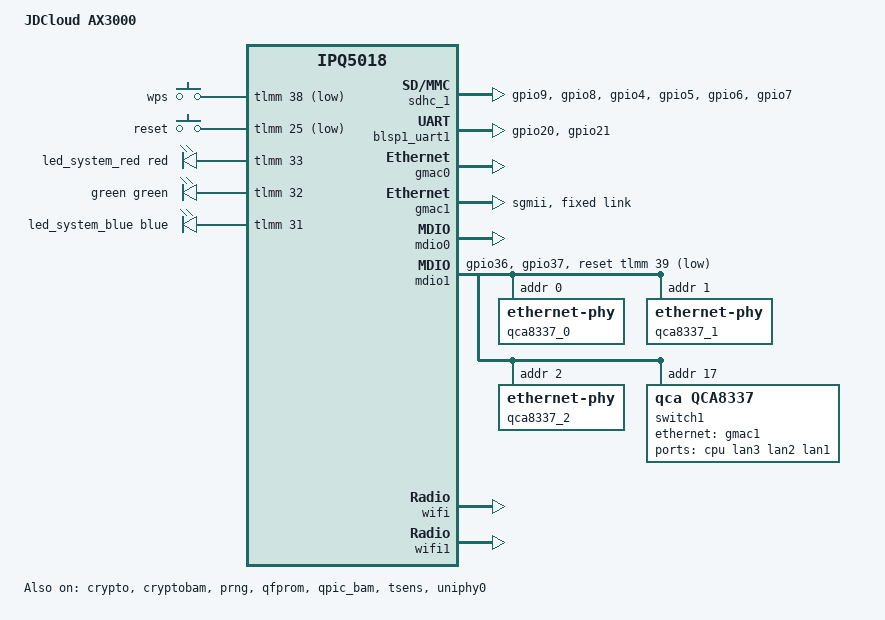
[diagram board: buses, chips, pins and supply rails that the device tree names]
// SPDX-License-Identifier: GPL-2.0-or-later OR MIT

/dts-v1/;

#include "ipq5018.dtsi"
#include "ipq5018-dwmac.dtsi"
#include "ipq5018-qcn6122.dtsi"
#include "ipq5018-nss.dtsi"

#include <dt-bindings/gpio/gpio.h>
#include <dt-bindings/input/input.h>
#include <dt-bindings/leds/common.h>

/ {
	model = "JDCloud AX3000";
	compatible = "jdcloud,ax3000", "qcom,ipq5018";

	aliases {
		led-boot = &led_system_blue;
		led-failsafe = &led_system_red;
		led-running = &led_system_blue;
		led-upgrade = &led_system_red;
		serial0 = &blsp1_uart1;
		sdhc1 = &sdhc_1;
		ethernet0 = &gmac0;
		ethernet1 = &gmac1;
		label-mac-device = &gmac1;
	};

	chosen {
		bootargs-append = " swiotlb=1 coherent_pool=2M fstools_partname_fallback_scan=1 fstools_overlay_fstype=ext4 clk_ignore_unused pd_ignore_unused";
		stdout-path = "serial0:115200n8";
	};

	keys {
		compatible = "gpio-keys";
		pinctrl-0 = <&button_pins>;
		pinctrl-names = "default";

		wps-button {
			label = "wps";
			linux,code = <KEY_WPS_BUTTON>;
			gpios = <&tlmm 38 GPIO_ACTIVE_LOW>;
			linux,input-type = <1>;
			debounce-interval = <60>;
		};

		reset-button {
			label = "reset";
			linux,code = <KEY_RESTART>;
			gpios = <&tlmm 25 GPIO_ACTIVE_LOW>;
			linux,input-type = <1>;
			debounce-interval = <60>;
		};
	};

	leds {
		compatible = "gpio-leds";
		pinctrl-0 = <&leds_pins>;
		pinctrl-names = "default";

		led_system_red: red {
			color = <LED_COLOR_ID_RED>;
			function = LED_FUNCTION_POWER;
			gpios = <&tlmm 33 GPIO_ACTIVE_HIGH>;
		};

		green {
			color = <LED_COLOR_ID_GREEN>;
			function = LED_FUNCTION_POWER;
			gpios = <&tlmm 32 GPIO_ACTIVE_HIGH>;
		};

		led_system_blue: blue {
			color = <LED_COLOR_ID_BLUE>;
			function = LED_FUNCTION_POWER;
			gpios = <&tlmm 31 GPIO_ACTIVE_HIGH>;
		};
	};
};

&sdhc_1 {
	status = "okay";
	pinctrl-0 = <&emmc_pins>;
	pinctrl-names = "default";
	max-frequency = <192000000>;

	/delete-property/ mmc-hs400-1_8v;
	mmc-hs200-1_8v;
	mmc-ddr-1_8v;
};

&sleep_clk {
	clock-frequency = <32000>;
};

&xo_board_clk {
	clock-frequency = <24000000>;
	clock-div = <4>;
	clock-mult = <1>;
};

&blsp1_uart1 {
	status = "okay";
	pinctrl-0 = <&serial_0_pins>;
	pinctrl-names = "default";
};

&crypto {
	status = "okay";
};

&cryptobam {
	status = "okay";
};

&prng {
	status = "okay";
};

&qfprom {
	status = "okay";
};

&qpic_bam {
	status = "okay";
};

&tsens {
	status = "okay";
};

&tlmm {
	button_pins: button-state {
		pins = "gpio25", "gpio38";
		function = "gpio";
		drive-strength = <8>;
		bias-pull-up;
	};

	mdio1_pins: mdio-state {
		mdc-pins {
			pins = "gpio36";
			function = "mdc";
			drive-strength = <8>;
			bias-pull-up;
		};

		mdio-pins {
			pins = "gpio37";
			function = "mdio";
			drive-strength = <8>;
			bias-pull-up;
		};
	};

	leds_pins: leds-pins {
		mux {
			pins = "gpio31", "gpio32", "gpio33";
			function = "gpio";
			drive-strength = <8>;
			bias-pull-down;
			output-low;
		};
	};

	emmc_pins: emmc-pins {
		clk-pins {
			pins = "gpio9";
			function = "sdc1_clk";
			drive-strength = <8>;
			bias-disable;
		};

		cmd-pins {
			pins = "gpio8";
			function = "sdc1_cmd";
			drive-strength = <8>;
			bias-pull-up;
		};

		data-pins {
			pins = "gpio4", "gpio5", "gpio6", "gpio7";
			function = "sdc1_data";
			drive-strength = <8>;
			bias-disable;
		};
	};

	serial_0_pins: uart0-state {
		pins = "gpio20", "gpio21";
		function = "blsp0_uart0";
		bias-disable;
	};
};

&uniphy0 {
	status = "okay";
	/* This 6.12 GCC also serves SSDK boards and resolves these by name. */
	clock-output-names = "uniphy_gcc_rx", "uniphy_gcc_tx", "uniphy0_ref_clk";
	assigned-clocks = <&uniphy0 UNIPHY_CLK_REF>;
	assigned-clock-rates = <UNIPHY_REFCLK_25MHZ>;
};

&gmac0 {
	label = "wan";
	status = "okay";
};

&gmac1 {
	status = "okay";
	phy-mode = "sgmii";

	fixed-link {
		speed = <1000>;
		full-duplex;
	};
};

&mdio0 {
	status = "okay";
};

&mdio1 {
	status = "okay";
	pinctrl-0 = <&mdio1_pins>;
	pinctrl-names = "default";
	reset-gpios = <&tlmm 39 GPIO_ACTIVE_LOW>;

	qca8337_0: ethernet-phy@0 {
		reg = <0>;
	};

	qca8337_1: ethernet-phy@1 {
		reg = <1>;
	};

	qca8337_2: ethernet-phy@2 {
		reg = <2>;
	};

	switch1: ethernet-switch@17 {
		compatible = "qca,qca8337";
		reg = <17>;
		#address-cells = <1>;
		#size-cells = <0>;

		ports {
			#address-cells = <1>;
			#size-cells = <0>;

			port@0 {
				reg = <0>;
				label = "cpu";
				phy-mode = "sgmii";
				ethernet = <&gmac1>;
				qca,sgmii-enable-pll;

				fixed-link {
					speed = <1000>;
					full-duplex;
				};
			};

			port@1 {
				reg = <1>;
				label = "lan3";
				phy-handle = <&qca8337_0>;
			};

			port@2 {
				reg = <2>;
				label = "lan2";
				phy-handle = <&qca8337_1>;
			};

			port@3 {
				reg = <3>;
				label = "lan1";
				phy-handle = <&qca8337_2>;
			};
		};
	};
};

&q6v5_wcss {
	/* PCIe1, UPD2, QCN6122 reset on the AX3000's GPIO 15. */
	boot-args = <0x2 4 2 15 0 0>;
};

&wifi {
	status = "okay";
	qcom,rproc = <&q6_wcss_pd1>;
	qcom,userpd-subsys-name = "q6v5_wcss_userpd1";
	qcom,ath11k-calibration-variant = "JDC-AX3000";
	qcom,ath11k-fw-memory-mode = <1>;
	qcom,bdf-addr = <0x4c400000>;
};

&wifi1 {
	nss-radio-priority = <1>;
	status = "okay";
	qcom,rproc = <&q6_wcss_pd2>;
	qcom,userpd-subsys-name = "q6v5_wcss_userpd2";
	qcom,ath11k-calibration-variant = "JDC-AX3000";
	qcom,ath11k-fw-memory-mode = <1>;
	qcom,bdf-addr = <0x4d100000>;
	qcom,m3-dump-addr = <0x4df00000>;
};

/* Match the IPQ5018 firmware capabilities used by the dwmac NSS stack. */
&nss0 {
	qcom,mid-frequency = <1000000000>;
	/delete-property/ qcom,clmap-enabled;
	/delete-property/ qcom,crypto-enabled;
	/delete-property/ qcom,ipsec-enabled;
	/delete-property/ qcom,gre-redir-enabled;
	/delete-property/ qcom,gre-redir-mark-enabled;
	/delete-property/ qcom,portid-enabled;
	/delete-property/ qcom,pvxlan-enabled;
	/delete-property/ qcom,udp-st-enabled;
};

&soc {
	/delete-node/ qcom,nss_crypto;
};
